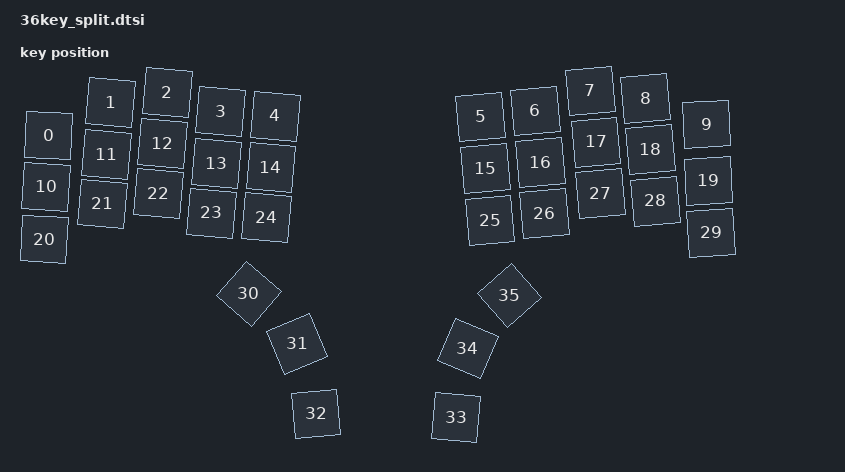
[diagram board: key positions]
#include <physical_layouts.dtsi>

/ {
    default_layout: default_layout {
        compatible = "zmk,physical-layout";
        display-name = "36key_split";

        keys  //                     w   h    x    y     rot    rx    ry
            = <&key_physical_attrs 100 100    0  120     300   150    80>
            , <&key_physical_attrs 100 100  120   60     500   300   100>
            , <&key_physical_attrs 100 100  240   10     500    70 (-20)>
            , <&key_physical_attrs 100 100  350   40     500    90 (-20)>
            , <&key_physical_attrs 100 100  460   40     500    90 (-20)>
            , <&key_physical_attrs 100 100  860   70  (-500)  1000   130>
            , <&key_physical_attrs 100 100  970   70  (-500)   970   130>
            , <&key_physical_attrs 100 100 1080   30  (-500)  1080    90>
            , <&key_physical_attrs 100 100 1190   40  (-500)  1250   100>
            , <&key_physical_attrs 100 100 1310   30  (-300)  2550    90>
            , <&key_physical_attrs 100 100    0  220     300    80    80>
            , <&key_physical_attrs 100 100  130  140     500    30 (-20)>
            , <&key_physical_attrs 100 100  240  110     500    40 (-20)>
            , <&key_physical_attrs 100 100  350  140     500    40 (-20)>
            , <&key_physical_attrs 100 100  460  140     500    50 (-20)>
            , <&key_physical_attrs 100 100  870  170  (-500)  1050   230>
            , <&key_physical_attrs 100 100  980  170  (-500)  1010   230>
            , <&key_physical_attrs 100 100 1091  130  (-500)  1120   190>
            , <&key_physical_attrs 100 100 1200  140  (-500)  1290   200>
            , <&key_physical_attrs 100 100 1320  140  (-300)  2625   310>
            , <&key_physical_attrs 100 100    0  320     300     0   110>
            , <&key_physical_attrs 100 100  130  240     500     30 (-20)>
            , <&key_physical_attrs 100 100  240  210     500     40  (-25)>
            , <&key_physical_attrs 100 100  350  240     500     40  (-25)>
            , <&key_physical_attrs 100 100  460  240     500     50  (-25)>
            , <&key_physical_attrs 100 100  880  270  (-500)  1100   350>
            , <&key_physical_attrs 100 100  990  270  (-500)  1050   350>
            , <&key_physical_attrs 100 100 1100  230  (-500)  1160   300>
            , <&key_physical_attrs 100 100 1210  240  (-500)  1330   310>
            , <&key_physical_attrs 100 100 1320  240  (-300)  2700   320>
            , <&key_physical_attrs 100 100  400  440    4100   460   480>
            , <&key_physical_attrs 100 100  480  550    6700   550   600>
            , <&key_physical_attrs 100 100  550  690    8500   600   720>
            , <&key_physical_attrs 100 100  820  670 (-8500)   870   730>
            , <&key_physical_attrs 100 100  840  550 (-6700)   880   600>
            , <&key_physical_attrs 100 100  930  430 (-4100)   980   500>
            ;
    };
};

